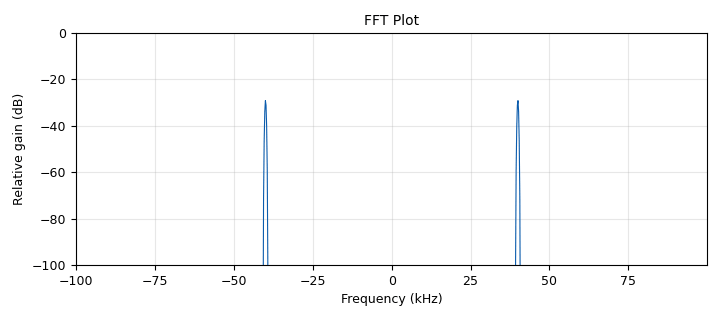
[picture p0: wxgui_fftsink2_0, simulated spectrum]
<?xml version='1.0' encoding='utf-8'?>
<flow_graph>
<block>
<key>options</key>
<param><key>id</key><value>top_block</value></param>
<param><key>generate_options</key><value>wx_gui</value></param>
<param><key>category</key><value>Custom</value></param>
</block>
<block>
<key>variable</key>
<param><key>id</key><value>samp_rate</value></param>
<param><key>value</key><value>32000</value></param>
</block>
<block>
<key>analog_const_source_x</key>
<param><key>id</key><value>analog_const_source_x_0</value></param>
<param><key>type</key><value>float</value></param>
<param><key>const</key><value>0</value></param>
</block>
<block>
<key>blocks_float_to_complex</key>
<param><key>id</key><value>blocks_float_to_complex_0</value></param>
</block>
<block>
<key>uhd_usrp_sink</key>
<param><key>id</key><value>uhd_usrp_sink_0</value></param>
<param><key>type</key><value>fc32</value></param>
<param><key>dev_addr</key><value></value></param>
<param><key>sync</key><value></value></param>
<param><key>clock_rate</key><value>0.0</value></param>
<param><key>samp_rate</key><value>200e3</value></param>
<param><key>center_freq0</key><value>900e6</value></param>
<param><key>gain0</key><value>30</value></param>
<param><key>ant0</key><value></value></param>
</block>
<block>
<key>wxgui_fftsink2</key>
<param><key>id</key><value>wxgui_fftsink2_0</value></param>
<param><key>type</key><value>complex</value></param>
<param><key>title</key><value>FFT Plot</value></param>
<param><key>samp_rate</key><value>200e3</value></param>
<param><key>baseband_freq</key><value>0</value></param>
<param><key>y_per_div</key><value>10</value></param>
<param><key>y_divs</key><value>10</value></param>
<param><key>ref_level</key><value>0</value></param>
<param><key>ref_scale</key><value>2.0</value></param>
<param><key>fft_size</key><value>1024</value></param>
<param><key>fft_rate</key><value>15</value></param>
<param><key>peak_hold</key><value>False</value></param>
<param><key>average</key><value>False</value></param>
<param><key>avg_alpha</key><value>0</value></param>
<param><key>win</key><value>None</value></param>
<param><key>freqvar</key><value>None</value></param>
</block>
<block>
<key>audio_sink</key>
<param><key>id</key><value>audio_sink_0</value></param>
<param><key>_enabled</key><value>False</value></param>
<param><key>samp_rate</key><value>24000</value></param>
</block>
<block>
<key>rational_resampler_xxx</key>
<param><key>id</key><value>rational_resampler_xxx_0</value></param>
<param><key>type</key><value>ccc</value></param>
<param><key>interp</key><value>1</value></param>
<param><key>decim</key><value>1</value></param>
<param><key>taps</key><value></value></param>
</block>
<block>
<key>blocks_file_source</key>
<param><key>id</key><value>blocks_file_source_0</value></param>
<param><key>_enabled</key><value>False</value></param>
<param><key>file</key><value>/tmp/dtmf-samples.bin</value></param>
<param><key>type</key><value>float</value></param>
<param><key>repeat</key><value>True</value></param>
</block>
<block>
<key>analog_sig_source_x</key>
<param><key>id</key><value>analog_sig_source_x_0</value></param>
<param><key>type</key><value>float</value></param>
<param><key>samp_rate</key><value>200e3</value></param>
<param><key>waveform</key><value>analog.GR_COS_WAVE</value></param>
<param><key>freq</key><value>40e3</value></param>
<param><key>amp</key><value>1</value></param>
<param><key>offset</key><value>0</value></param>
</block>
<block>
<key>blocks_multiply_const_vxx</key>
<param><key>id</key><value>blocks_multiply_const_vxx_0</value></param>
<param><key>type</key><value>float</value></param>
<param><key>const</key><value>0.1</value></param>
</block>
<connection><source_block_id>blocks_file_source_0</source_block_id><sink_block_id>blocks_multiply_const_vxx_0</sink_block_id><source_key>0</source_key><sink_key>0</sink_key></connection>
<connection><source_block_id>blocks_multiply_const_vxx_0</source_block_id><sink_block_id>audio_sink_0</sink_block_id><source_key>0</source_key><sink_key>0</sink_key></connection>
<connection><source_block_id>blocks_multiply_const_vxx_0</source_block_id><sink_block_id>blocks_float_to_complex_0</sink_block_id><source_key>0</source_key><sink_key>0</sink_key></connection>
<connection><source_block_id>analog_const_source_x_0</source_block_id><sink_block_id>blocks_float_to_complex_0</sink_block_id><source_key>0</source_key><sink_key>1</sink_key></connection>
<connection><source_block_id>rational_resampler_xxx_0</source_block_id><sink_block_id>uhd_usrp_sink_0</sink_block_id><source_key>0</source_key><sink_key>0</sink_key></connection>
<connection><source_block_id>blocks_float_to_complex_0</source_block_id><sink_block_id>rational_resampler_xxx_0</sink_block_id><source_key>0</source_key><sink_key>0</sink_key></connection>
<connection><source_block_id>rational_resampler_xxx_0</source_block_id><sink_block_id>wxgui_fftsink2_0</sink_block_id><source_key>0</source_key><sink_key>0</sink_key></connection>
<connection><source_block_id>analog_sig_source_x_0</source_block_id><sink_block_id>blocks_multiply_const_vxx_0</sink_block_id><source_key>0</source_key><sink_key>0</sink_key></connection>
</flow_graph>
